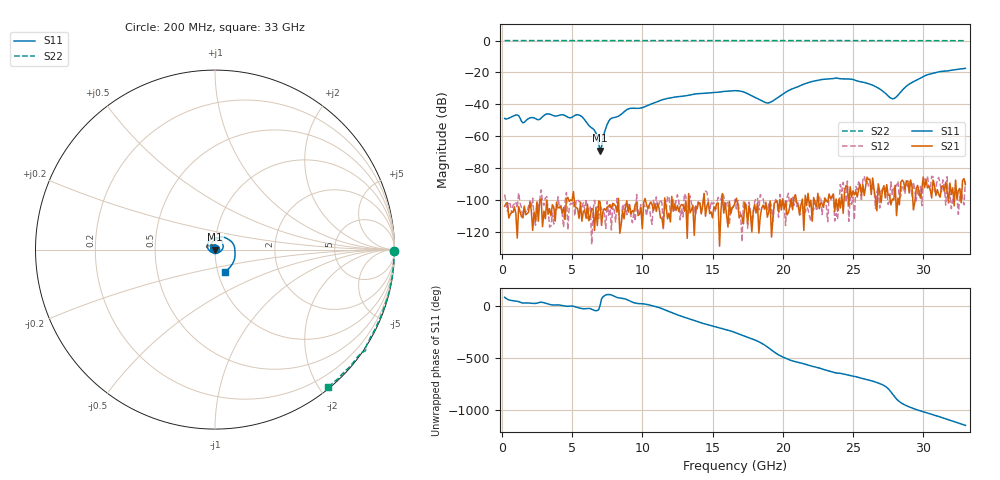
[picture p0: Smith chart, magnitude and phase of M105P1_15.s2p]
# GHZ S RI R 50
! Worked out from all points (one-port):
!   329 points, 200 MHz to 33 GHz, reference 50 ohm
!   lowest |S11| = -69.1 dB at 7 GHz (marker M1), VSWR 1.00, Z = 50 + j0.00384 ohm
!   |S11| at or under -10 dB: start of sweep to end of sweep
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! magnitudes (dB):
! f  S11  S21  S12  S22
! 200 MHz  -48.8  -103.9  -96.5  0.0
! 1.1 GHz  -46.6  -123.8  -105.2  0.0
! 1.5 GHz  -51.5  -111.0  -111.6  0.0
! 3.3 GHz  -46.0  -108.9  -106.0  0.0
! 5.7 GHz  -47.7  -113.2  -104.4  0.0
! 6.7 GHz  -57.9  -105.0  -105.5  0.0
! 7 GHz  -69.1  -101.2  -102.6  0.0
! 7.3 GHz  -57.8  -105.3  -108.8  0.0
! 7.7 GHz  -49.4  -103.0  -102.9  0.0
! 9 GHz  -42.9  -107.5  -102.0  0.0
! 11.2 GHz  -37.9  -105.3  -102.0  0.0
! 16.6 GHz  -31.4  -101.9  -99.7  0.0
! 19 GHz  -39.0  -107.6  -102.6  0.0
! 20.5 GHz  -30.9  -104.3  -103.7  0.0
! 22.1 GHz  -25.6  -113.2  -106.2  0.0
! 25 GHz  -24.4  -94.2  -98.3  0.0
! 26.6 GHz  -28.8  -99.0  -105.5  0.0
! 27.6 GHz  -35.5  -97.1  -100.6  0.0
! 28 GHz  -35.9  -90.7  -91.7  0.0
! 28.9 GHz  -27.9  -87.9  -91.4  -0.1
! 30.2 GHz  -21.7  -87.5  -88.0  -0.1
! 33 GHz  -17.4  -90.3  -88.3  -0.1
